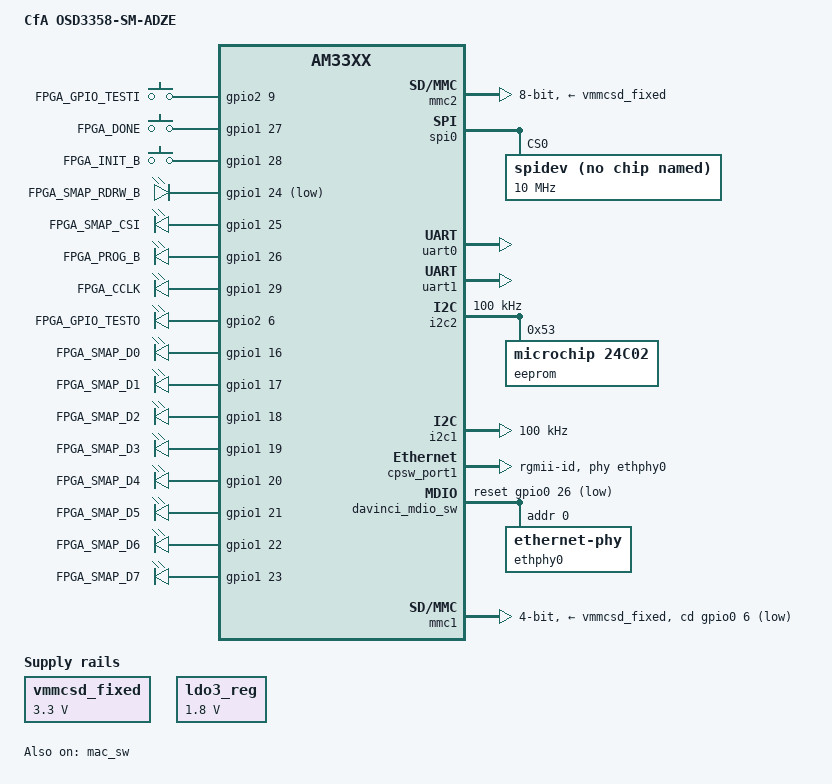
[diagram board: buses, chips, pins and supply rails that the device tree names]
//SPDX-License-Identifier: GPL-2.0
/* Copyright (C) 2018 Octavo Systems LLC - https://www.octavosystems.com/
 *
 * This program is free software; you can redistribute it and/or modify
 * it under the terms of the GNU General Public License version 2 as
 * published by the Free Software Foundation.
 */

/dts-v1/;

#include "am33xx.dtsi"
#include "am335x-osd335x-common.dtsi"

/ {
	model = "CfA OSD3358-SM-ADZE";
	compatible = "oct,osd3358-sm-refdesign", "ti,am335x-bone-black", "ti,am335x-bone", "ti,am33xx";

	chosen {
		base_dtb = "am335x-osd3358-sm-adze.dts";
		base_dtb_timestamp = __TIMESTAMP__;
	};

	// GPIO inputs. These are readable from libgpio
	gpio_keys: fpga_gpio_input {
		compatible = "gpio-keys";
		#address-cells = <1>;
		#size-cells = <0>;
		autorepeat;
		FPGA_GPIO_TESTI {
		        label = "FPGA_GPIO_TESTI";
		        gpios = <&gpio2 9 GPIO_ACTIVE_HIGH>;
                        linux,code = <1>;
		};
		FPGA_DONE {
		        label = "FPGA_DONE";
		        gpios = <&gpio1 27 GPIO_ACTIVE_HIGH>;
                        linux,code = <1>;
		};
		FPGA_INIT_B {
		        label = "FPGA_INIT_B";
		        gpios = <&gpio1 28 GPIO_ACTIVE_HIGH>;
                        linux,code = <1>;
		};
	};

        // Really any GPIO Outputs(!) These are writable via /sys/class/leds/
	leds{
                pinctrl-names = "default";
                pinctrl-0 = <&gpio_pins>;
		compatible = "gpio-leds";
		FPGA_SMAP_RDRW_B {
		        label = "FPGA_SMAP_RDRW_B";
		        gpios = <&gpio1 24 GPIO_ACTIVE_LOW>;
                        default-state="off";
		};
		FPGA_SMAP_CSI {
		        label = "FPGA_SMAP_CSI";
		        gpios = <&gpio1 25 GPIO_ACTIVE_HIGH>;
                        default-state="off";
		};
		FPGA_PROG_B {
		        label = "FPGA_PROG_B";
		        gpios = <&gpio1 26 GPIO_ACTIVE_HIGH>;
                        default-state="off";
		};
		//FPGA_INIT_B {
		//        label = "FPGA_INIT_B";
		//        gpios = <&gpio1 28 GPIO_ACTIVE_LOW>;
                //        default-state="off";
		//};
		FPGA_CCLK {
		        label = "FPGA_CCLK";
		        gpios = <&gpio1 29 GPIO_ACTIVE_HIGH>;
                        default-state="off";
		};
		FPGA_GPIO_TESTO {
		        label = "FPGA_GPIO_TESTO";
		        gpios = <&gpio2 6 GPIO_ACTIVE_HIGH>;
                        default-state="off";
		};
		FPGA_SMAP_D0 {
		        label = "FPGA_SMAP_D0";
		        gpios = <&gpio1 16 GPIO_ACTIVE_HIGH>;
                        default-state="off";
		};
		FPGA_SMAP_D1 {
		        label = "FPGA_SMAP_D1";
		        gpios = <&gpio1 17 GPIO_ACTIVE_HIGH>;
                        default-state="off";
		};
		FPGA_SMAP_D2 {
		        label = "FPGA_SMAP_D2";
		        gpios = <&gpio1 18 GPIO_ACTIVE_HIGH>;
                        default-state="off";
		};
		FPGA_SMAP_D3 {
		        label = "FPGA_SMAP_D3";
		        gpios = <&gpio1 19 GPIO_ACTIVE_HIGH>;
                        default-state="off";
		};
		FPGA_SMAP_D4 {
		        label = "FPGA_SMAP_D4";
		        gpios = <&gpio1 20 GPIO_ACTIVE_HIGH>;
                        default-state="off";
		};
		FPGA_SMAP_D5 {
		        label = "FPGA_SMAP_D5";
		        gpios = <&gpio1 21 GPIO_ACTIVE_HIGH>;
                        default-state="off";
		};
		FPGA_SMAP_D6 {
		        label = "FPGA_SMAP_D6";
		        gpios = <&gpio1 22 GPIO_ACTIVE_HIGH>;
                        default-state="off";
		};
		FPGA_SMAP_D7 {
		        label = "FPGA_SMAP_D7";
		        gpios = <&gpio1 23 GPIO_ACTIVE_HIGH>;
                        default-state="off";
		};
	};

};

&ldo3_reg {
	regulator-min-microvolt = <1800000>;
	regulator-max-microvolt = <1800000>;
	regulator-always-on;
};

&mmc2 {
	vmmc-supply = <&vmmcsd_fixed>;
	pinctrl-names = "default";
	pinctrl-0 = <&emmc_pins>;
	bus-width = <8>;
	status = "okay";
};

&i2c0 {
      status = "disabled";
};

&spi0 {
      status = "okay";
      pinctrl-names = "default";
      pinctrl-0 = <&spi0_pins>;
      ti,spi-num-cs = <1>;
      spidev@0 {
                compatible = "rohm,dh2228fv";
                spi-max-frequency = <10000000>;
                reg = <0>;
      };
};

/ {
	chosen {
		stdout-path = &uart0;
	};


	vmmcsd_fixed: fixedregulator0 {
		compatible = "regulator-fixed";
		regulator-name = "vmmcsd_fixed";
		regulator-min-microvolt = <3300000>;
		regulator-max-microvolt = <3300000>;
	};
};

&am33xx_pinmux {
	ethernet_interrupt: ethernet-interrupt{
		pinctrl-single,pins = <
			AM33XX_PADCONF(AM335X_PIN_GPMC_AD9, PIN_INPUT_PULLUP, MUX_MODE0)	/* PHY_INT on GPMC_AD9 */
		>;
	};

	ethernet_reset: ethernet_reset-pins{
		pinctrl-single,pins = <
			AM33XX_IOPAD(0x828, PIN_OUTPUT_PULLUP | MUX_MODE7) /* (T11) gpmc_ad10.gpio0[26] */
		>;
	};

        // To Silabs synth
	i2c1_pins: pinmux-i2c1-pins{
		pinctrl-single,pins = <
			AM33XX_IOPAD(0x910, PIN_INPUT | MUX_MODE3) /* (J15) gmii1_rxer.I2C1_SCL */
			AM33XX_IOPAD(0x90c, PIN_INPUT | MUX_MODE3) /* (H17) gmii1_crs.I2C1_SDA */
		>;
	};


        // To MAC EEPROM / SFP
	i2c2_pins: pinmux-i2c2-pins{
		pinctrl-single,pins = <
			AM33XX_IOPAD(0x97c, PIN_INPUT | MUX_MODE3) /* (D17) uart1_rtsn.I2C2_SCL */
			AM33XX_IOPAD(0x978, PIN_INPUT | MUX_MODE3) /* (D18) uart1_ctsn.I2C2_SDA */
		>;
	};

        // Debug console
	uart0_pins: pinmux-uart0-pins {
		pinctrl-single,pins = <
			AM33XX_PADCONF(AM335X_PIN_UART0_RXD, PIN_INPUT_PULLUP, MUX_MODE0)
			AM33XX_PADCONF(AM335X_PIN_UART0_TXD, PIN_OUTPUT_PULLDOWN, MUX_MODE0)
		>;
	};


        // FPGA (WR) console
	uart1_pins: pinmux-uart1-pins {
		pinctrl-single,pins = <
			AM33XX_PADCONF(AM335X_PIN_UART1_RXD, PIN_INPUT_PULLUP, MUX_MODE0)
			AM33XX_PADCONF(AM335X_PIN_UART1_TXD, PIN_OUTPUT_PULLDOWN, MUX_MODE0)
		>;
	};

	spi0_pins: pinmux_spi0-pins {
		   pinctrl-single,pins = <
		   		       AM33XX_IOPAD(0x0950, PIN_INPUT_PULLUP | MUX_MODE0 ) /*(A17) spi0_sclk.spi0_sclk */
				       AM33XX_IOPAD(0x0954, PIN_INPUT_PULLUP | MUX_MODE0 ) /*(B17) spi0_d0.spi0_d0 */
				       AM33XX_IOPAD(0x0958, PIN_INPUT_PULLUP | MUX_MODE0 ) /*(B16) spi0_d1.spi0_d1 */
				       AM33XX_IOPAD(0x095c, PIN_INPUT_PULLUP | MUX_MODE0 ) /*(A16) spi0_cs0.spi0_cs0 */
		>;
	};

	cpsw_default: cpsw-default {
		pinctrl-single,pins = <
			/* Slave 1 */
			AM33XX_PADCONF(AM335X_PIN_MII1_TX_EN, PIN_OUTPUT_PULLDOWN, MUX_MODE2)	/* mii1_txen.rgmii1_tctl */
			AM33XX_PADCONF(AM335X_PIN_MII1_RX_DV, PIN_INPUT_PULLDOWN, MUX_MODE2)		/* mii1_rxdv.rgmii1_rctl */
			AM33XX_PADCONF(AM335X_PIN_MII1_TXD3, PIN_OUTPUT_PULLDOWN, MUX_MODE2)
			AM33XX_PADCONF(AM335X_PIN_MII1_TXD2, PIN_OUTPUT_PULLDOWN, MUX_MODE2)
			AM33XX_PADCONF(AM335X_PIN_MII1_TXD1, PIN_OUTPUT_PULLDOWN, MUX_MODE2)
			AM33XX_PADCONF(AM335X_PIN_MII1_TXD0, PIN_OUTPUT_PULLDOWN, MUX_MODE2)
			AM33XX_PADCONF(AM335X_PIN_MII1_TX_CLK, PIN_OUTPUT_PULLDOWN, MUX_MODE2)
			AM33XX_PADCONF(AM335X_PIN_MII1_RX_CLK, PIN_INPUT_PULLDOWN, MUX_MODE2)
			AM33XX_PADCONF(AM335X_PIN_MII1_RXD3, PIN_INPUT_PULLDOWN, MUX_MODE2)
			AM33XX_PADCONF(AM335X_PIN_MII1_RXD2, PIN_INPUT_PULLDOWN, MUX_MODE2)
			AM33XX_PADCONF(AM335X_PIN_MII1_RXD1, PIN_INPUT_PULLDOWN, MUX_MODE2)
			AM33XX_PADCONF(AM335X_PIN_MII1_RXD0, PIN_INPUT_PULLDOWN, MUX_MODE2)
		>;
	};

	cpsw_sleep: cpsw-sleep {
		pinctrl-single,pins = <
			/* Slave 1 reset value */
			AM33XX_PADCONF(AM335X_PIN_MII1_TX_EN, PIN_INPUT_PULLDOWN, MUX_MODE7)
			AM33XX_PADCONF(AM335X_PIN_MII1_RX_DV, PIN_INPUT_PULLDOWN, MUX_MODE7)
			AM33XX_PADCONF(AM335X_PIN_MII1_TXD3, PIN_INPUT_PULLDOWN, MUX_MODE7)
			AM33XX_PADCONF(AM335X_PIN_MII1_TXD2, PIN_INPUT_PULLDOWN, MUX_MODE7)
			AM33XX_PADCONF(AM335X_PIN_MII1_TXD1, PIN_INPUT_PULLDOWN, MUX_MODE7)
			AM33XX_PADCONF(AM335X_PIN_MII1_TXD0, PIN_INPUT_PULLDOWN, MUX_MODE7)
			AM33XX_PADCONF(AM335X_PIN_MII1_TX_CLK, PIN_INPUT_PULLDOWN, MUX_MODE7)
			AM33XX_PADCONF(AM335X_PIN_MII1_RX_CLK, PIN_INPUT_PULLDOWN, MUX_MODE7)
			AM33XX_PADCONF(AM335X_PIN_MII1_RXD3, PIN_INPUT_PULLDOWN, MUX_MODE7)
			AM33XX_PADCONF(AM335X_PIN_MII1_RXD2, PIN_INPUT_PULLDOWN, MUX_MODE7)
			AM33XX_PADCONF(AM335X_PIN_MII1_RXD1, PIN_INPUT_PULLDOWN, MUX_MODE7)
			AM33XX_PADCONF(AM335X_PIN_MII1_RXD0, PIN_INPUT_PULLDOWN, MUX_MODE7)
		>;
	};

	davinci_mdio_default: davinci-mdio-default {
		pinctrl-single,pins = <
			/* MDIO */
			AM33XX_PADCONF(AM335X_PIN_MDIO, PIN_INPUT_PULLUP | SLEWCTRL_FAST, MUX_MODE0)
			AM33XX_PADCONF(AM335X_PIN_MDC, PIN_OUTPUT_PULLUP, MUX_MODE0)
		>;
	};

	davinci_mdio_sleep: davinci-mdio-sleep {
		pinctrl-single,pins = <
			/* MDIO reset value */
			AM33XX_PADCONF(AM335X_PIN_MDIO, PIN_INPUT_PULLDOWN, MUX_MODE7)
			AM33XX_PADCONF(AM335X_PIN_MDC, PIN_INPUT_PULLDOWN, MUX_MODE7)
		>;
	};

	mmc1_pins: pinmux-mmc1-pins {
		pinctrl-single,pins = <
			AM33XX_PADCONF(AM335X_PIN_SPI0_CS1, PIN_INPUT, MUX_MODE7) /* (C15) spi0_cs1.gpio0[6] */
			AM33XX_PADCONF(AM335X_PIN_MMC0_DAT0, PIN_INPUT_PULLUP, MUX_MODE0)
			AM33XX_PADCONF(AM335X_PIN_MMC0_DAT1, PIN_INPUT_PULLUP, MUX_MODE0)
			AM33XX_PADCONF(AM335X_PIN_MMC0_DAT2, PIN_INPUT_PULLUP, MUX_MODE0)
			AM33XX_PADCONF(AM335X_PIN_MMC0_DAT3, PIN_INPUT_PULLUP, MUX_MODE0)
			AM33XX_PADCONF(AM335X_PIN_MMC0_CMD, PIN_INPUT_PULLUP, MUX_MODE0)
			AM33XX_PADCONF(AM335X_PIN_MMC0_CLK, PIN_INPUT_PULLUP, MUX_MODE0)
		>;
	};

	emmc_pins: pinmux-emmc-pins {
		pinctrl-single,pins = <
			AM33XX_PADCONF(AM335X_PIN_GPMC_CSN1, PIN_INPUT_PULLUP, MUX_MODE2) /* gpmc_csn1.mmc1_clk */
			AM33XX_PADCONF(AM335X_PIN_GPMC_CSN2, PIN_INPUT_PULLUP, MUX_MODE2) /* gpmc_csn2.mmc1_cmd */
			AM33XX_PADCONF(AM335X_PIN_GPMC_AD0, PIN_INPUT_PULLUP, MUX_MODE1) /* gpmc_ad0.mmc1_dat0 */
			AM33XX_PADCONF(AM335X_PIN_GPMC_AD1, PIN_INPUT_PULLUP, MUX_MODE1) /* gpmc_ad1.mmc1_dat1 */
			AM33XX_PADCONF(AM335X_PIN_GPMC_AD2, PIN_INPUT_PULLUP, MUX_MODE1) /* gpmc_ad2.mmc1_dat2 */
			AM33XX_PADCONF(AM335X_PIN_GPMC_AD3, PIN_INPUT_PULLUP, MUX_MODE1) /* gpmc_ad3.mmc1_dat3 */
			AM33XX_PADCONF(AM335X_PIN_GPMC_AD4, PIN_INPUT_PULLUP, MUX_MODE1) /* gpmc_ad4.mmc1_dat4 */
			AM33XX_PADCONF(AM335X_PIN_GPMC_AD5, PIN_INPUT_PULLUP, MUX_MODE1) /* gpmc_ad5.mmc1_dat5 */
			AM33XX_PADCONF(AM335X_PIN_GPMC_AD6, PIN_INPUT_PULLUP, MUX_MODE1) /* gpmc_ad6.mmc1_dat6 */
			AM33XX_PADCONF(AM335X_PIN_GPMC_AD7, PIN_INPUT_PULLUP, MUX_MODE1) /* gpmc_ad7.mmc1_dat7 */
		>;
	};

        // GPIO pins
	gpio_pins: pinmux-gpio-pins{
		pinctrl-single,pins = <
        		// SIP-FPGA selectmap interface & control/status pins
			AM33XX_IOPAD(0x840, PIN_OUTPUT | MUX_MODE7) /* (R13) gpmc_a0.gpio1[16] SMAP_D0 */
			AM33XX_IOPAD(0x844, PIN_OUTPUT | MUX_MODE7) /* (V14) gpmc_a1.gpio1[17] SMAP_D1 */
			AM33XX_IOPAD(0x848, PIN_OUTPUT | MUX_MODE7) /* (U14) gpmc_a2.gpio1[18] SMAP_D2 */
			AM33XX_IOPAD(0x84c, PIN_OUTPUT | MUX_MODE7) /* (T14) gpmc_a3.gpio1[19] SMAP_D3 */
			AM33XX_IOPAD(0x850, PIN_OUTPUT | MUX_MODE7) /* (R14) gpmc_a4.gpio1[20] SMAP_D4 */
			AM33XX_IOPAD(0x854, PIN_OUTPUT | MUX_MODE7) /* (V15) gpmc_a5.gpio1[21] SMAP_D5 */
			AM33XX_IOPAD(0x858, PIN_OUTPUT | MUX_MODE7) /* (U15) gpmc_a6.gpio1[22] SMAP_D6 */
			AM33XX_IOPAD(0x85c, PIN_OUTPUT | MUX_MODE7) /* (T15) gpmc_a7.gpio1[23] SMAP_D7 */
			AM33XX_IOPAD(0x860, PIN_OUTPUT | MUX_MODE7) /* (V16) gpmc_a8.gpio1[24] SMAP_RDWR_B */
			AM33XX_IOPAD(0x864, PIN_OUTPUT | MUX_MODE7) /* (U16) gpmc_a9.gpio1[25] SMAP_CSI */
			AM33XX_IOPAD(0x868, PIN_OUTPUT | MUX_MODE7) /* (T16) gpmc_a10.gpio1[26] PROG_B */
			AM33XX_IOPAD(0x86c, PIN_INPUT_PULLDOWN | MUX_MODE7) /* (V17) gpmc_a11.gpio1[27] DONE */
			AM33XX_IOPAD(0x878, PIN_INPUT  | MUX_MODE7) /* (U18) gpmc_be1n.gpio1[28] INIT_B */
			AM33XX_IOPAD(0x87c, PIN_OUTPUT | MUX_MODE7) /* (V6) gpmc_csn0.gpio1[29] CCLK */
                        // HEADER pins 0 (J12)
			AM33XX_IOPAD(0x888, PIN_INPUT | MUX_MODE7) /* (T13) gpmc_csn3.gpio2[0] */
			AM33XX_IOPAD(0x88c, PIN_INPUT | MUX_MODE7) /* (V12) gpmc_clk.gpio2[1] */
			AM33XX_IOPAD(0x890, PIN_INPUT | MUX_MODE7) /* (R7) gpmc_advn_ale.gpio2[2] */
			AM33XX_IOPAD(0x894, PIN_INPUT | MUX_MODE7) /* (T7) gpmc_oen_ren.gpio2[3] */
			AM33XX_IOPAD(0x898, PIN_INPUT | MUX_MODE7) /* (U6) gpmc_wen.gpio2[4] */
			AM33XX_IOPAD(0x89c, PIN_INPUT | MUX_MODE7) /* (T6) gpmc_be0n_cle.gpio2[5] */
			AM33XX_IOPAD(0x8a0, PIN_OUTPUT | MUX_MODE7) /* (R1) lcd_data0.gpio2[6] */
			AM33XX_IOPAD(0x8a4, PIN_INPUT | MUX_MODE7) /* (R2) lcd_data1.gpio2[7] */
			AM33XX_IOPAD(0x8a8, PIN_INPUT | MUX_MODE7) /* (R3) lcd_data2.gpio2[8] */
			AM33XX_IOPAD(0x8ac, PIN_INPUT | MUX_MODE7) /* (R4) lcd_data3.gpio2[9] */
                        // Header pins 1 (J14)
			AM33XX_IOPAD(0x908, PIN_INPUT | MUX_MODE7) /* (H16) gmii1_col.gpio3[0] */
			AM33XX_IOPAD(0xa34, PIN_INPUT | MUX_MODE7) /* (F15) USB1_DRVVBUS.gpio3[13] */
			AM33XX_IOPAD(0x990, PIN_INPUT | MUX_MODE7) /* (A13) mcasp0_aclkx.gpio3[14] */
			AM33XX_IOPAD(0x994, PIN_INPUT | MUX_MODE7) /* (B13) mcasp0_fsx.gpio3[15] */
			AM33XX_IOPAD(0x998, PIN_INPUT | MUX_MODE7) /* (D12) mcasp0_axr0.gpio3[16] */
			AM33XX_IOPAD(0x99c, PIN_INPUT | MUX_MODE7) /* (C12) mcasp0_ahclkr.gpio3[17] */
			AM33XX_IOPAD(0x9ac, PIN_INPUT | MUX_MODE7) /* (A14) mcasp0_ahclkx.gpio3[21] */
		>;
	};

        //// SIP GPIO HEADER 0 (J12)
	//header0_pins: pinmux-header0-pins {
	//	pinctrl-single,pins = <
	//		AM33XX_IOPAD(0x888, PIN_INPUT | MUX_MODE7) /* (T13) gpmc_csn3.gpio2[0] */
	//		AM33XX_IOPAD(0x88c, PIN_INPUT | MUX_MODE7) /* (V12) gpmc_clk.gpio2[1] */
	//		AM33XX_IOPAD(0x890, PIN_INPUT | MUX_MODE7) /* (R7) gpmc_advn_ale.gpio2[2] */
	//		AM33XX_IOPAD(0x894, PIN_INPUT | MUX_MODE7) /* (T7) gpmc_oen_ren.gpio2[3] */
	//		AM33XX_IOPAD(0x898, PIN_INPUT | MUX_MODE7) /* (U6) gpmc_wen.gpio2[4] */
	//		AM33XX_IOPAD(0x89c, PIN_INPUT | MUX_MODE7) /* (T6) gpmc_be0n_cle.gpio2[5] */
	//		AM33XX_IOPAD(0x8a0, PIN_OUTPUT | MUX_MODE7) /* (R1) lcd_data0.gpio2[6] */
	//		AM33XX_IOPAD(0x8a4, PIN_INPUT | MUX_MODE7) /* (R2) lcd_data1.gpio2[7] */
	//		AM33XX_IOPAD(0x8a8, PIN_INPUT | MUX_MODE7) /* (R3) lcd_data2.gpio2[8] */
	//		AM33XX_IOPAD(0x8ac, PIN_INPUT | MUX_MODE7) /* (R4) lcd_data3.gpio2[9] */
	//	>;
	//};

        //// SIP GPIO HEADER 1 (J14)
	//header1_pins: pinmux-header1-pins {
	//	pinctrl-single,pins = <
	//		AM33XX_IOPAD(0x908, PIN_INPUT | MUX_MODE7) /* (H16) gmii1_col.gpio3[0] */
	//		AM33XX_IOPAD(0xa34, PIN_INPUT | MUX_MODE7) /* (F15) USB1_DRVVBUS.gpio3[13] */
	//		AM33XX_IOPAD(0x990, PIN_INPUT | MUX_MODE7) /* (A13) mcasp0_aclkx.gpio3[14] */
	//		AM33XX_IOPAD(0x994, PIN_INPUT | MUX_MODE7) /* (B13) mcasp0_fsx.gpio3[15] */
	//		AM33XX_IOPAD(0x998, PIN_INPUT | MUX_MODE7) /* (D12) mcasp0_axr0.gpio3[16] */
	//		AM33XX_IOPAD(0x99c, PIN_INPUT | MUX_MODE7) /* (C12) mcasp0_ahclkr.gpio3[17] */
	//		AM33XX_IOPAD(0x9ac, PIN_INPUT | MUX_MODE7) /* (A14) mcasp0_ahclkx.gpio3[21] */
	//	>;
	//};
};


&uart0 {
	pinctrl-names = "default";
	pinctrl-0 = <&uart0_pins>;

	status = "okay";
	symlink = "bone/uart/0";
};

&uart1 {
	pinctrl-names = "default";
	pinctrl-0 = <&uart1_pins>;

	status = "okay";
	symlink = "bone/uart/1";
};


&usb0 {
	dr_mode = "peripheral";
	interrupts-extended = <&intc 18 &tps 0>;
	interrupt-names = "mc", "vbus";
	status = "disabled";
};

&usb1 {
	dr_mode = "host";
	status = "disabled";
};

&i2c2 {
	pinctrl-names = "default";
	pinctrl-0 = <&i2c2_pins>;
	status = "okay";
	clock-frequency = <100000>;
	symlink = "bone/i2c/2";
	eeprom@53 {
		compatible = "microchip,24c02", "atmel,24c02";
		size = <256>;
		read-only;
		reg = <0x53>;
		pagesize = <16>; //Schematic shows 24AA025E48 (16-byte page)
		#address-cells = <1>;
		#size-cells = <1>;
		mac_addr: mac_addr@FA {
			reg = <0xFA 0x06>;
		};
	};
};

&i2c1 {
	pinctrl-names = "default";
	pinctrl-0 = <&i2c1_pins>;
	status = "okay";
	clock-frequency = <100000>;
	symlink = "bone/i2c/1";
};

&cpsw_port1 {
	phy-handle = <&ethphy0>;
	phy-mode = "rgmii-id";
	ti,dual-emac-pvid = <1>;
        local-mac-address = <&mac_addr>;
        mac-address = <&mac_addr>;
        nvmem-cells= <&mac_addr>;
        nvmem-cell-names = "mac-address";
	status = "okay";
};

&cpsw_port2 {
	status = "disabled"; // Without disabling port1 won't work
};

&mac_sw {
	pinctrl-names = "default", "sleep";
	pinctrl-0 = <&cpsw_default>;
	pinctrl-1 = <&cpsw_sleep>;
	status = "okay";
};

&davinci_mdio_sw {
	pinctrl-names = "default", "sleep";
	pinctrl-0 = <&davinci_mdio_default>;
	pinctrl-1 = <&davinci_mdio_sleep>;
	status = "okay";
	reset-gpios = <&gpio0 26 GPIO_ACTIVE_LOW>;
	reset-assert-us = <10000>;
	reset-deassert-us = <30000>;
	ethphy0: ethernet-phy@0 {
		device-type = "ethernet-phy";
		reg = <0>;
	};
};

&mmc1 {
	status = "okay";
	vmmc-supply = <&vmmcsd_fixed>;
	bus-width = <0x4>;
	pinctrl-names = "default";
	pinctrl-0 = <&mmc1_pins>;
	cd-gpios = <&gpio0 6 GPIO_ACTIVE_LOW>;
};

&rtc {
	system-power-controller;
	clocks = <&clk_32768_ck>, <&clk_24mhz_clkctrl AM3_CLK_24MHZ_CLKDIV32K_CLKCTRL 0>;
	clock-names = "ext-clk", "int-clk";
};

